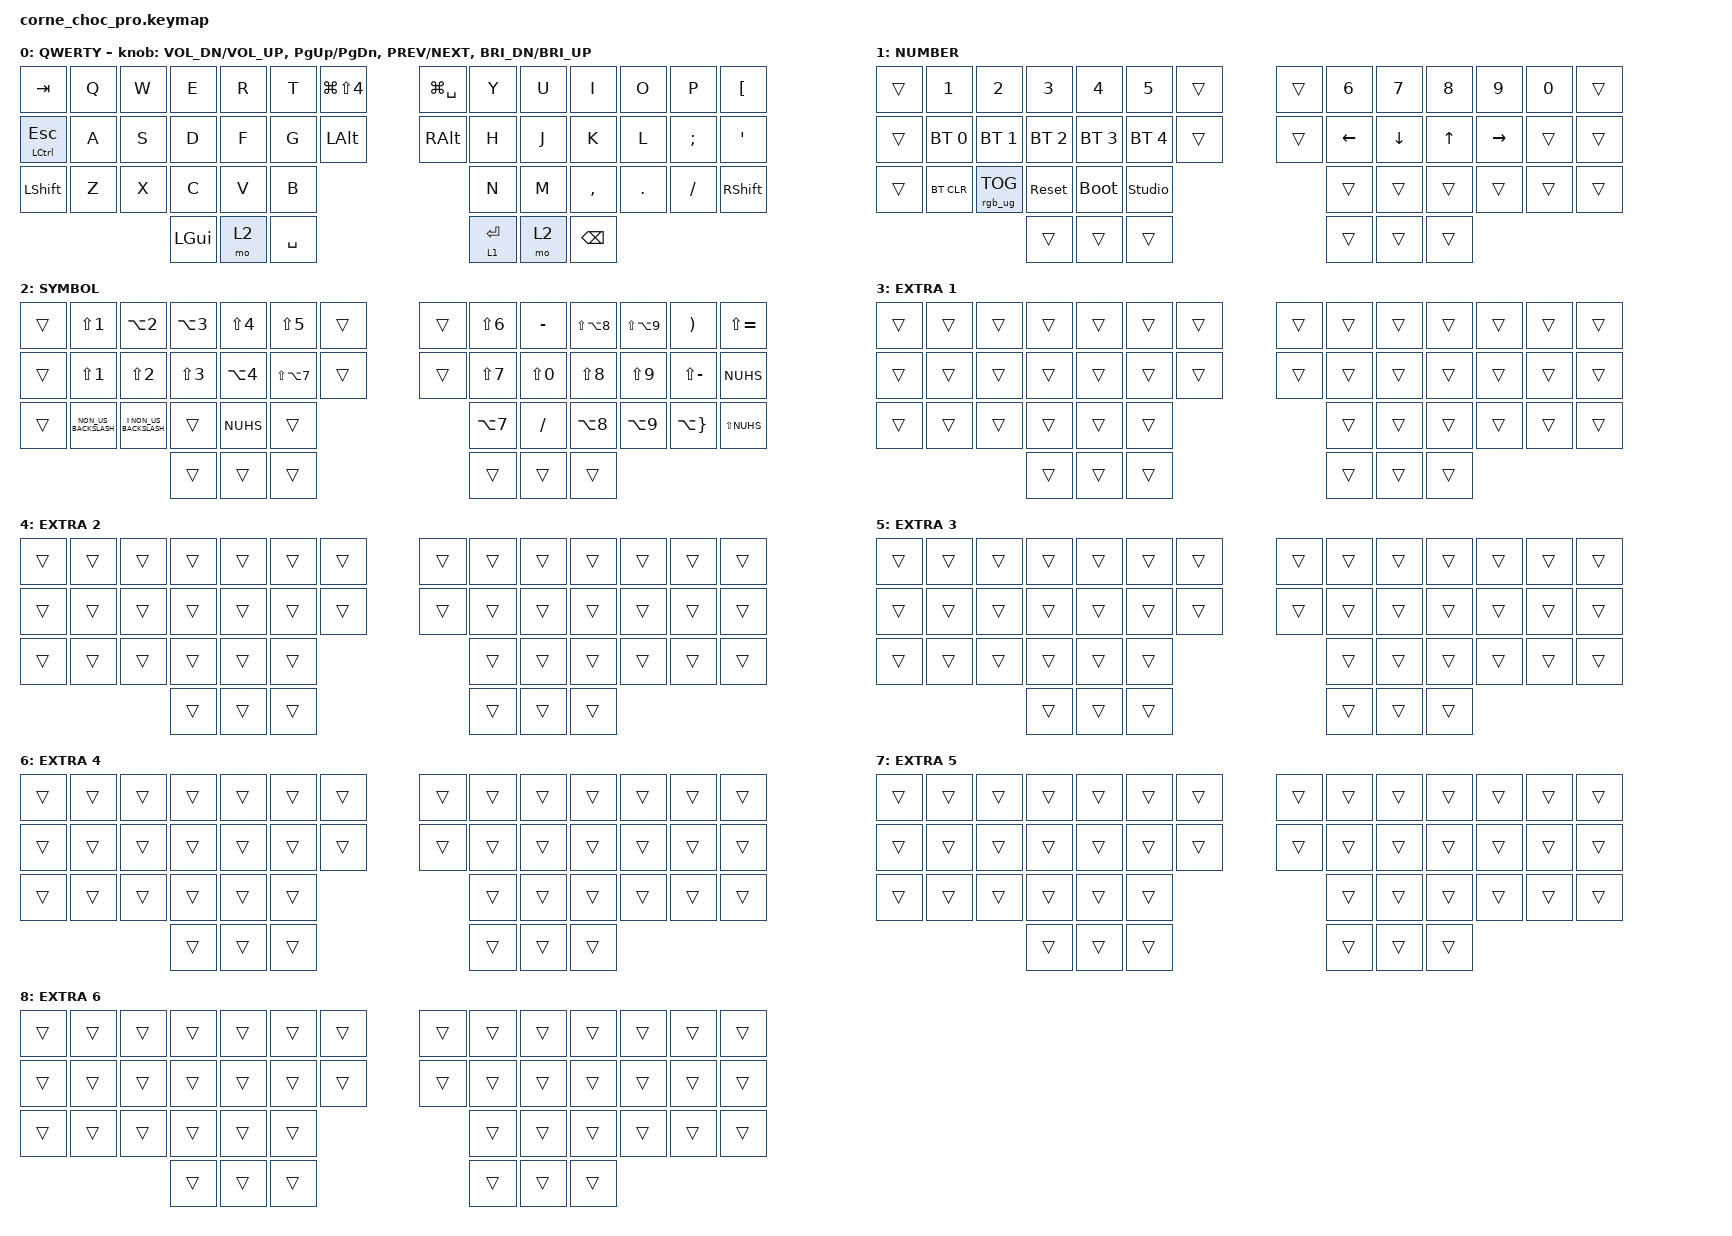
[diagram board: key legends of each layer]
/*
 * Copyright (c) 2020 The ZMK Contributors
 *
 * SPDX-License-Identifier: MIT
 */

#include <behaviors.dtsi>
#include <dt-bindings/zmk/bt.h>
#include <dt-bindings/zmk/keys.h>
#include <dt-bindings/zmk/rgb.h>

/ {
    chosen { zmk,physical-layout = &default_layout; };
};

/ {
    keymap {
        compatible = "zmk,keymap";

        default_layer {
            display-name = "QWERTY";
            bindings = <
&kp TAB        &kp Q  &kp W  &kp E     &kp R  &kp T      &kp LG(LS(NUMBER_4))  &kp LG(SPACE)  &kp Y      &kp U  &kp I      &kp O    &kp P     &kp LEFT_BRACKET
&mt LCTRL ESC  &kp A  &kp S  &kp D     &kp F  &kp G      &kp LALT              &kp RALT       &kp H      &kp J  &kp K      &kp L    &kp SEMI  &kp SQT
&kp LSHFT      &kp Z  &kp X  &kp C     &kp V  &kp B                                           &kp N      &kp M  &kp COMMA  &kp DOT  &kp FSLH  &kp RIGHT_SHIFT
                             &kp LGUI  &mo 2  &kp SPACE                                       &lt 1 RET  &mo 2  &kp BSPC
            >;

            sensor-bindings = <&inc_dec_kp C_VOL_DN C_VOL_UP &inc_dec_kp PG_UP PG_DN &inc_dec_kp C_PREV C_NEXT &inc_dec_kp C_BRI_DN C_BRI_UP>;
        };

        lower_layer {
            display-name = "NUMBER";
            bindings = <
&trans  &kp N1        &kp N2           &kp N3        &kp N4        &kp N5          &trans  &trans  &kp N6    &kp N7    &kp N8  &kp N9     &kp N0  &trans
&trans  &bt BT_SEL 0  &bt BT_SEL 1     &bt BT_SEL 2  &bt BT_SEL 3  &bt BT_SEL 4    &trans  &trans  &kp LEFT  &kp DOWN  &kp UP  &kp RIGHT  &trans  &trans
&trans  &bt BT_CLR    &rgb_ug RGB_TOG  &sys_reset    &bootloader   &studio_unlock                  &trans    &trans    &trans  &trans     &trans  &trans
                                       &trans        &trans        &trans                          &trans    &trans    &trans
            >;
        };

        raise_layer {
            display-name = "SYMBOL";
            bindings = <
&trans  &kp LS(NUMBER_1)      &kp LA(NUMBER_2)          &kp LA(NUMBER_3)  &kp LS(NUMBER_4)  &kp LS(NUMBER_5)      &trans  &trans  &kp LS(NUMBER_6)  &kp MINUS         &kp LS(LA(NUMBER_8))  &kp LS(LA(NUMBER_9))  &kp RPAR             &kp LS(EQUAL)
&trans  &kp LS(NUMBER_1)      &kp LS(NUMBER_2)          &kp LS(NUMBER_3)  &kp LA(NUMBER_4)  &kp LS(LA(NUMBER_7))  &trans  &trans  &kp LS(NUMBER_7)  &kp LS(NUMBER_0)  &kp LS(NUMBER_8)      &kp LS(NUMBER_9)      &kp LS(MINUS)        &kp NUHS
&trans  &kp NON_US_BACKSLASH  &kp LS(NON_US_BACKSLASH)  &trans            &kp NUHS          &trans                                &kp LA(NUMBER_7)  &kp SLASH         &kp LA(NUMBER_8)      &kp LA(NUMBER_9)      &kp LA(RIGHT_BRACE)  &kp LS(NUHS)
                                                        &trans            &trans            &trans                                &trans            &trans            &trans
            >;
        };

        extra_layer_1 {
            display-name = "EXTRA 1";
            bindings = <
&trans  &trans  &trans  &trans  &trans  &trans  &trans  &trans  &trans  &trans  &trans  &trans  &trans  &trans
&trans  &trans  &trans  &trans  &trans  &trans  &trans  &trans  &trans  &trans  &trans  &trans  &trans  &trans
&trans  &trans  &trans  &trans  &trans  &trans                  &trans  &trans  &trans  &trans  &trans  &trans
                        &trans  &trans  &trans                  &trans  &trans  &trans
            >;
        };

        extra_layer_2 {
            display-name = "EXTRA 2";
            bindings = <
&trans  &trans  &trans  &trans  &trans  &trans  &trans  &trans  &trans  &trans  &trans  &trans  &trans  &trans
&trans  &trans  &trans  &trans  &trans  &trans  &trans  &trans  &trans  &trans  &trans  &trans  &trans  &trans
&trans  &trans  &trans  &trans  &trans  &trans                  &trans  &trans  &trans  &trans  &trans  &trans
                        &trans  &trans  &trans                  &trans  &trans  &trans
            >;
        };

        extra_layer_3 {
            display-name = "EXTRA 3";
            bindings = <
&trans  &trans  &trans  &trans  &trans  &trans  &trans  &trans  &trans  &trans  &trans  &trans  &trans  &trans
&trans  &trans  &trans  &trans  &trans  &trans  &trans  &trans  &trans  &trans  &trans  &trans  &trans  &trans
&trans  &trans  &trans  &trans  &trans  &trans                  &trans  &trans  &trans  &trans  &trans  &trans
                        &trans  &trans  &trans                  &trans  &trans  &trans
            >;
        };

        extra_layer_4 {
            display-name = "EXTRA 4";
            bindings = <
&trans  &trans  &trans  &trans  &trans  &trans  &trans  &trans  &trans  &trans  &trans  &trans  &trans  &trans
&trans  &trans  &trans  &trans  &trans  &trans  &trans  &trans  &trans  &trans  &trans  &trans  &trans  &trans
&trans  &trans  &trans  &trans  &trans  &trans                  &trans  &trans  &trans  &trans  &trans  &trans
                        &trans  &trans  &trans                  &trans  &trans  &trans
            >;
        };

        extra_layer_5 {
            display-name = "EXTRA 5";
            bindings = <
&trans  &trans  &trans  &trans  &trans  &trans  &trans  &trans  &trans  &trans  &trans  &trans  &trans  &trans
&trans  &trans  &trans  &trans  &trans  &trans  &trans  &trans  &trans  &trans  &trans  &trans  &trans  &trans
&trans  &trans  &trans  &trans  &trans  &trans                  &trans  &trans  &trans  &trans  &trans  &trans
                        &trans  &trans  &trans                  &trans  &trans  &trans
            >;
        };

        extra_layer_6 {
            display-name = "EXTRA 6";
            bindings = <
&trans  &trans  &trans  &trans  &trans  &trans  &trans  &trans  &trans  &trans  &trans  &trans  &trans  &trans
&trans  &trans  &trans  &trans  &trans  &trans  &trans  &trans  &trans  &trans  &trans  &trans  &trans  &trans
&trans  &trans  &trans  &trans  &trans  &trans                  &trans  &trans  &trans  &trans  &trans  &trans
                        &trans  &trans  &trans                  &trans  &trans  &trans
            >;
        };
    };
};
